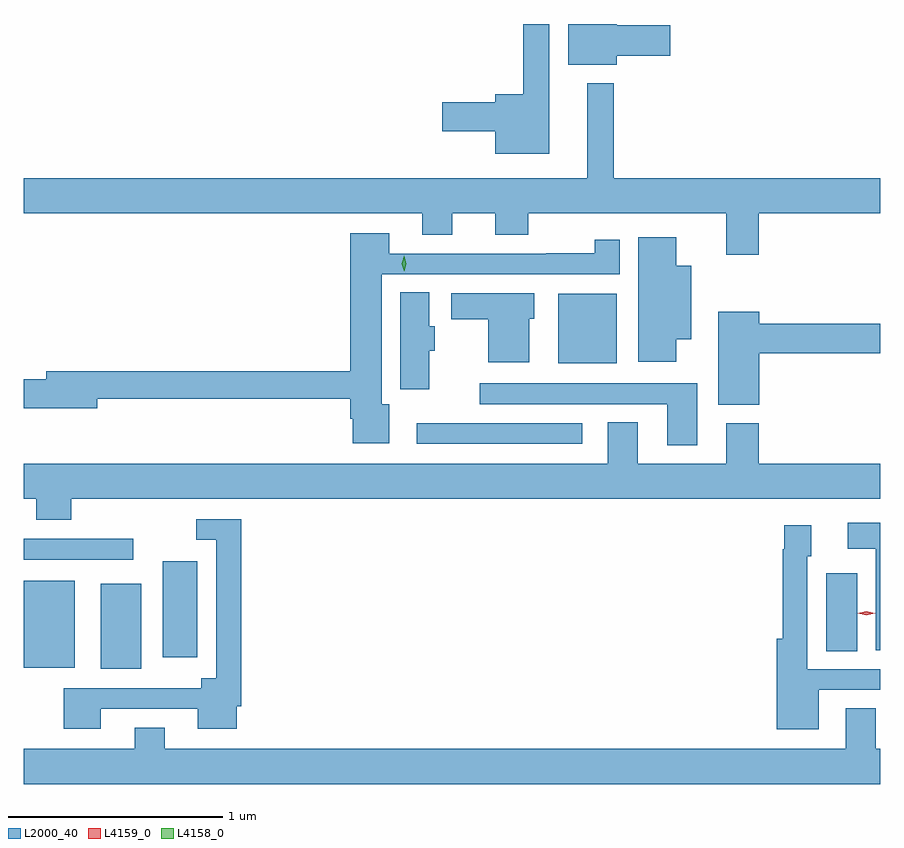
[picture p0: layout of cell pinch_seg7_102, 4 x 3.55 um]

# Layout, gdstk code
import gdstk
lib = gdstk.Library(unit=1e-6, precision=1e-09)
def R(c, l, rs):  # rectangles x0, y0, x1, y1
    for r in rs: c.add(gdstk.rectangle(r[:2], r[2:], *l))
def P(c, l, *ps):  # polygons
    for p in ps: c.add(gdstk.Polygon(p, *l))
L2000_40 = (2000, 40)
L4158_0 = (4158, 0)
L4159_0 = (4159, 0)

pinch_seg7_102 = lib.new_cell('pinch_seg7_102')
R(pinch_seg7_102, L2000_40, [(934.748,1031.789,934.936,1032.187), (934.387,1031.795,934.627,1032.202), (935.036,1031.844,935.197,1032.292), (938.135,1031.872,938.278,1032.235), (934.387,1032.3,934.9,1032.396), (936.222,1032.84,936.994,1032.936), (936.884,1033.217,937.156,1033.54)])
P(pinch_seg7_102, L2000_40, [(936.841,1034.8),(936.72,1034.8),(936.72,1034.471),(936.59,1034.471),(936.59,1034.435),(936.342,1034.435),(936.342,1034.3),(936.59,1034.3),(936.59,1034.195),(936.841,1034.195)],
  [(937.156,1034.651),(937.405,1034.651),(937.405,1034.793),(937.156,1034.793),(937.156,1034.8),(936.929,1034.8),(936.929,1034.609),(937.156,1034.609)],
  [(937.82,1033.916),(938.387,1033.916),(938.387,1034.08),(937.141,1034.08),(937.141,1034.524),(937.019,1034.524),(937.019,1034.08),(934.387,1034.08),(934.387,1033.916),(936.248,1033.916),(936.248,1033.817),(936.388,1033.817),(936.388,1033.916),(936.59,1033.916),(936.59,1033.817),(936.743,1033.817),(936.743,1033.916),(937.667,1033.916),(937.667,1033.722),(937.82,1033.722)],
  [(936.094,1033.024),(936.058,1033.024),(936.058,1033.632),(937.171,1033.632),(937.171,1033.792),(937.054,1033.792),(937.054,1033.73),(936.826,1033.73),(936.826,1033.728),(936.094,1033.728),(936.094,1033.822),(935.912,1033.822),(935.912,1033.178),(934.493,1033.178),(934.493,1033.142),(934.387,1033.142),(934.387,1033.007),(934.732,1033.007),(934.732,1033.05),(935.912,1033.05),(935.912,1032.956),(935.924,1032.956),(935.924,1032.842),(936.094,1032.842)],
  [(937.435,1033.328),(937.504,1033.328),(937.504,1033.672),(937.435,1033.672),(937.435,1033.804),(937.256,1033.804),(937.256,1033.223),(937.435,1033.223)],
  [(936.28,1033.275),(936.307,1033.275),(936.307,1033.389),(936.28,1033.389),(936.28,1033.547),(936.146,1033.547),(936.146,1033.095),(936.28,1033.095)],
  [(936.748,1033.425),(936.772,1033.425),(936.772,1033.543),(936.384,1033.543),(936.384,1033.421),(936.557,1033.421),(936.557,1033.22),(936.748,1033.22)],
  [(937.822,1033.264),(938.387,1033.264),(938.387,1033.4),(937.822,1033.4),(937.822,1033.456),(937.631,1033.456),(937.631,1033.022),(937.822,1033.022)],
  [(937.531,1033.122),(936.516,1033.122),(936.516,1033.026),(937.391,1033.026),(937.391,1032.834),(937.531,1032.834)],
  [(934.61,1032.584),(938.387,1032.584),(938.387,1032.748),(937.82,1032.748),(937.82,1032.937),(937.667,1032.937),(937.667,1032.748),(937.255,1032.748),(937.255,1032.941),(937.115,1032.941),(937.115,1032.748),(934.387,1032.748),(934.387,1032.584),(934.445,1032.584),(934.445,1032.485),(934.61,1032.485)],
  [(934.747,1031.604),(935.201,1031.604),(935.201,1031.51),(935.383,1031.51),(935.383,1031.614),(935.402,1031.614),(935.402,1032.489),(935.193,1032.489),(935.193,1032.393),(935.286,1032.393),(935.286,1031.746),(935.216,1031.746),(935.216,1031.7),(934.574,1031.7),(934.574,1031.51),(934.747,1031.51)],
  [(938.387,1032.472),(938.235,1032.472),(938.235,1032.35),(938.366,1032.35),(938.366,1031.876),(938.387,1031.876)],
  [(938.098,1031.691),(938.387,1031.691),(938.387,1031.787),(938.046,1031.787),(938.046,1032.315),(938.065,1032.315),(938.065,1032.46),(937.938,1032.46),(937.938,1032.347),(937.93,1032.347),(937.93,1031.929),(937.904,1031.929),(937.904,1031.507),(938.098,1031.507)],
  [(938.387,1031.416),(938.365,1031.416),(938.365,1031.606),(938.225,1031.606),(938.225,1031.416),(935.047,1031.416),(935.047,1031.515),(934.907,1031.515),(934.907,1031.416),(934.387,1031.416),(934.387,1031.252),(938.387,1031.252)])
P(pinch_seg7_102, L4158_0, [(936.163,1033.645),(936.163,1033.645),(936.153,1033.681),(936.163,1033.717),(936.163,1033.717),(936.163,1033.717),(936.173,1033.681),(936.163,1033.645)])
P(pinch_seg7_102, L4159_0, [(938.321,1032.039),(938.281,1032.049),(938.281,1032.049),(938.281,1032.049),(938.321,1032.059),(938.362,1032.049),(938.362,1032.049),(938.362,1032.049)])

lib.write_gds('pinch_seg7_102.gds')
